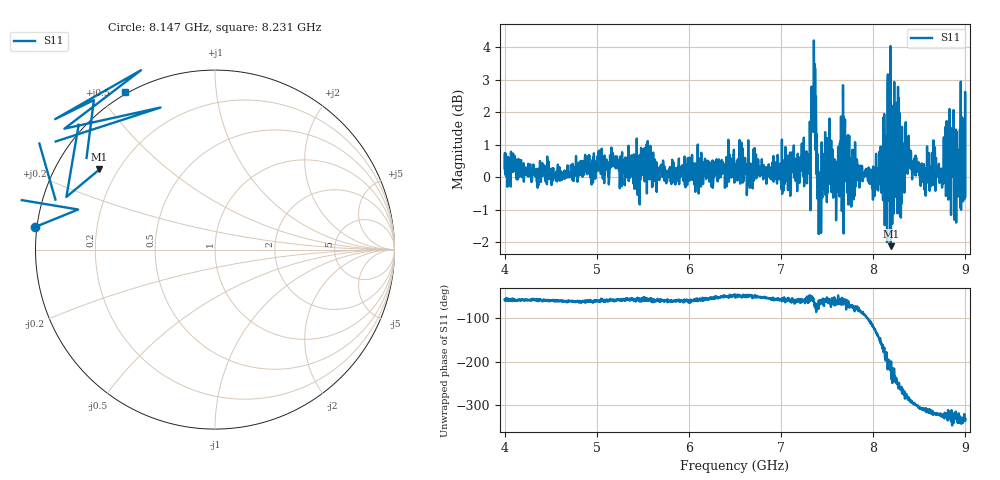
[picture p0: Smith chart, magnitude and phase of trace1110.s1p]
! Created with skrf 1.8.0 (http://scikit-rf.org).
# Hz S RI R 50.0
!freq ReS11 ImS11
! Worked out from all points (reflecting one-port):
!   1601 points, 4 GHz to 9 GHz, reference 50 ohm
!   lowest |S11| = -2.1 dB at 8.191 GHz (marker M1), VSWR 8.24, Z = 6.65 + j15.4 ohm
!   phase of S11 starts at -57 deg and turns -275 deg over the sweep
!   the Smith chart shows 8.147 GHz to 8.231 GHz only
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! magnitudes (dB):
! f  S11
! 4 GHz  0.3
! 4.625 GHz  0.0
! 5.25 GHz  -0.3
! 5.875 GHz  -0.1
! 6.5 GHz  0.4
! 7.125 GHz  0.4
! 7.294 GHz  0.4
! 7.353 GHz  2.7
! 7.378 GHz  2.5
! 7.409 GHz  -1.7
! 7.422 GHz  -1.2
! 7.519 GHz  0.0
! 7.591 GHz  -0.3
! 7.669 GHz  0.9
! 7.75 GHz  0.0
! 8 GHz  0.3
! 8.066 GHz  0.8
! 8.162 GHz  -0.7
! 8.191 GHz  -2.1
! 8.253 GHz  1.3
! 8.312 GHz  1.6
! 8.375 GHz  0.6
! 8.556 GHz  -0.4
! 8.738 GHz  0.1
! 8.803 GHz  0.2
! 8.903 GHz  1.4
! 8.953 GHz  -1.0
! 9 GHz  -0.6
